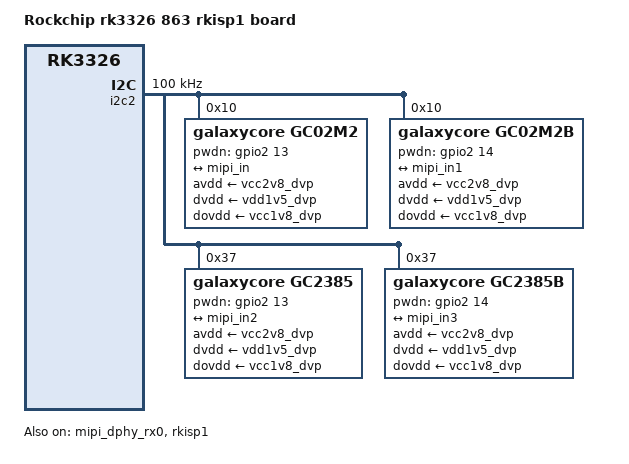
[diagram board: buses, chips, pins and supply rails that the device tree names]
// SPDX-License-Identifier: (GPL-2.0+ OR MIT)
/*
 * Copyright (c) 2019 Fuzhou Rockchip Electronics Co., Ltd
 */

/dts-v1/;
#include "rk3326-Epicmipi.dtsi"

/ {
	model = "Rockchip rk3326 863 rkisp1 board";
	compatible = "rockchip,rk3326-863-lp3-v10-rkisp1", "rockchip,rk3326";
};

&chosen {
	bootargs_ext = "androidboot.boot_devices=ff390000.dwmmc,ff3b0000.nandc";
};
&i2c2 {
	status = "okay";
   clock-frequency = <100000>;
	gc02m2: gc02m2@10 {
		status = "okay";
		compatible = "galaxycore,gc02m2";
		reg = <0x10>;
		//pinctrl-names = "default";
		//pinctrl-0 = <&cif_clkout_m0>;

		clocks = <&cru SCLK_CIF_OUT>;
		clock-names = "xvclk";

		avdd-supply = <&vcc2v8_dvp>;
		dvdd-supply = <&vdd1v5_dvp>;
		dovdd-supply = <&vcc1v8_dvp>;
		pwdn-gpios = <&gpio2 13 GPIO_ACTIVE_HIGH>;
		rockchip,camera-module-index = <0>;
		rockchip,camera-module-facing = "back";
			rockchip,camera-module-name = "CameraKing";
		rockchip,camera-module-lens-name = "Largan";
		port {
			gc02m2_out: endpoint {
				remote-endpoint = <&mipi_in>;
				data-lanes = <1>;
			};
		};
	};
	
		gc02m2b: gc02m2b@10 {
		status = "okay";
		compatible = "galaxycore,gc02m2b";
		reg = <0x10>;
		//pinctrl-names = "default";
		//pinctrl-0 = <&cif_clkout_m0>;

		clocks = <&cru SCLK_CIF_OUT>;
		clock-names = "xvclk";

		avdd-supply = <&vcc2v8_dvp>;
		dvdd-supply = <&vdd1v5_dvp>;
		dovdd-supply = <&vcc1v8_dvp>;
		pwdn-gpios = <&gpio2 14 GPIO_ACTIVE_HIGH>;
		rockchip,camera-module-index = <1>;
		rockchip,camera-module-facing = "front";
		rockchip,camera-module-name = "CameraKing";
		rockchip,camera-module-lens-name = "Largan";
		port {
			gc02m2_out1: endpoint {
				remote-endpoint = <&mipi_in1>;
				data-lanes = <1>;
			};
		};
	};
	 gc2385: gc2385@37 {
		status = "okay";
		compatible = "galaxycore,gc2385";
		reg = <0x37>;
		//pinctrl-names = "default";
		//pinctrl-0 = <&cif_clkout_m0>;

		clocks = <&cru SCLK_CIF_OUT>;
		clock-names = "xvclk";

		avdd-supply = <&vcc2v8_dvp>;
		dvdd-supply = <&vdd1v5_dvp>;
		dovdd-supply = <&vcc1v8_dvp>;
		pwdn-gpios = <&gpio2 13 GPIO_ACTIVE_HIGH>;
		rockchip,camera-module-index = <0>;
		rockchip,camera-module-facing = "back";
		rockchip,camera-module-name = "CMK-CL4154-FG3";
		rockchip,camera-module-lens-name = "TL0534-2";//
		//gc2385_CMK-CL4154-FG3_TL0534-2
		port {
			gc2385_out: endpoint {
				remote-endpoint = <&mipi_in2>;
				data-lanes = <1>;
			};
		};
	};
	
		gc2385b: gc2385b@37 {
		status = "okay";
		compatible = "galaxycore,gc2385b";
		reg = <0x37>;
		//pinctrl-names = "default";
		//pinctrl-0 = <&cif_clkout_m0>;

		clocks = <&cru SCLK_CIF_OUT>;
		clock-names = "xvclk";

		avdd-supply = <&vcc2v8_dvp>;
		dvdd-supply = <&vdd1v5_dvp>;
		dovdd-supply = <&vcc1v8_dvp>;
		pwdn-gpios = <&gpio2 14 GPIO_ACTIVE_HIGH>;
		rockchip,camera-module-index = <1>;
		rockchip,camera-module-facing = "front";
		rockchip,camera-module-name = "pcg301139-a0";
		rockchip,camera-module-lens-name = "m286";
		port {
			gc2385_out1: endpoint {
				remote-endpoint = <&mipi_in3>;
				data-lanes = <1>;
			};
		};
	};
};

&isp_mmu {
	status = "okay";
};
&mipi_dphy_rx0 {
	status = "okay";

	ports {
		#address-cells = <1>;
		#size-cells = <0>;

		port@0 {
			reg = <0>;
			#address-cells = <1>;
			#size-cells = <0>;

			mipi_in: endpoint@0 {
				reg = <0>;
				remote-endpoint = <&gc02m2_out>;
				data-lanes = <1>;
			};
			
			mipi_in1: endpoint@1 {
				reg = <1>;
				remote-endpoint = <&gc02m2_out1>;
				data-lanes = <1>;
			};
		mipi_in2: endpoint@2 {
				reg = <0>;
				remote-endpoint = <&gc2385_out>;
				data-lanes = <1>;
			};
			
			mipi_in3: endpoint@3 {
				reg = <1>;
				remote-endpoint = <&gc2385_out1>;
				data-lanes = <1>;
			};			
		};

		port@1 {
			reg = <1>;
			#address-cells = <1>;
			#size-cells = <0>;

			dphy_rx_out: endpoint@0 {
				reg = <0>;
				remote-endpoint = <&isp_mipi_in>;
			};
		};
	};
};

&rkisp1 {
	status = "okay";
	pinctrl-names = "default";
	pinctrl-0 = <&cif_clkout_m0>;

	port {
		#address-cells = <1>;
		#size-cells = <0>;

			isp_mipi_in: endpoint@0 {
				reg = <0>;
				remote-endpoint = <&dphy_rx_out>;
			};

	};
};
